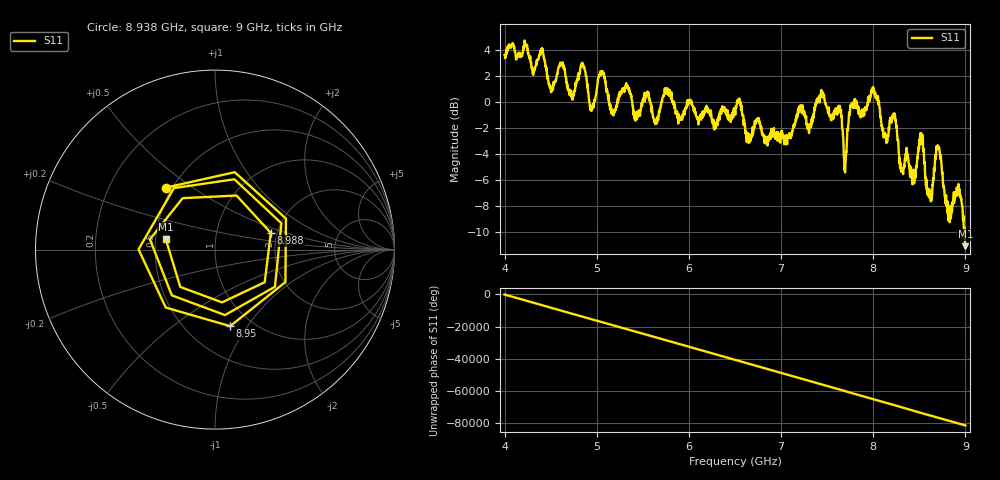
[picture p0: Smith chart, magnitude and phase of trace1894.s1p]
! Created with skrf 1.8.0 (http://scikit-rf.org).
# Hz S RI R 50.0
!freq ReS11 ImS11
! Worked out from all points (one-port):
!   1601 points, 4 GHz to 9 GHz, reference 50 ohm
!   lowest |S11| = -11.0 dB at 9 GHz (marker M1), VSWR 1.78, Z = 28.3 + j3.56 ohm
!   |S11| at or under -10 dB: 8.992266 GHz to end of sweep
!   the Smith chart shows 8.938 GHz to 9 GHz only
!   S11 on the Smith chart (normalised r, x): 8.938 GHz: 0.46, +0.40; 8.95 GHz: 0.80, -0.84; 8.988 GHz: 1.85, +0.39; 9 GHz: 0.57, +0.07
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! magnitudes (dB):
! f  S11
! 4 GHz  3.6
! 4.403 GHz  3.8
! 4.503 GHz  0.8
! 4.625 GHz  2.8
! 4.728 GHz  0.5
! 4.853 GHz  2.9
! 4.944 GHz  -0.4
! 5.053 GHz  2.4
! 5.159 GHz  -0.9
! 5.25 GHz  0.8
! 5.875 GHz  -1.2
! 6.5 GHz  -0.7
! 7.125 GHz  -2.2
! 7.444 GHz  0.8
! 7.638 GHz  -0.3
! 7.694 GHz  -5.4
! 7.75 GHz  -0.3
! 8 GHz  0.8
! 8.375 GHz  -4.1
! 8.441 GHz  -5.6
! 8.522 GHz  -2.4
! 8.612 GHz  -7.3
! 8.709 GHz  -3.4
! 8.819 GHz  -8.4
! 8.938 GHz  -7.1
! 8.95 GHz  -7.2
! 8.988 GHz  -9.8
! 9 GHz  -11.0
